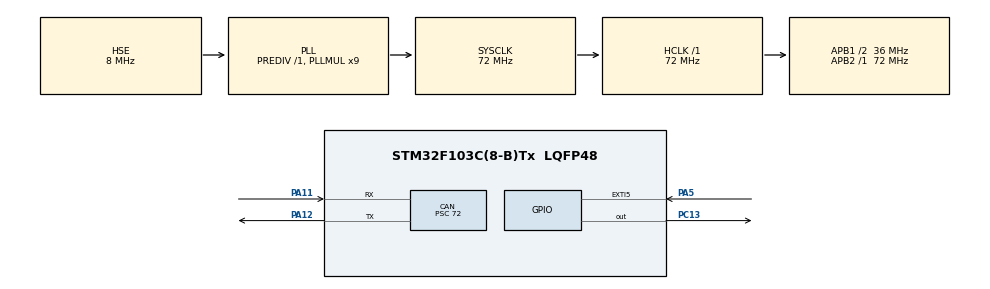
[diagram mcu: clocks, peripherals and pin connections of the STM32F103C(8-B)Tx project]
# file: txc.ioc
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CAN.BS1=CAN_BS1_2TQ
CAN.CalculateBaudRate=125000
CAN.CalculateTimeBit=8000
CAN.CalculateTimeQuantum=2000.0
CAN.Prescaler=72
Mcu.Family=STM32F1
Mcu.Name=STM32F103C(8-B)Tx
Mcu.Package=LQFP48
NVIC.EXTI9_5_IRQn=true\:0\:0\:false\:false\:true\:true\:true\:true
NVIC.PriorityGroup=NVIC_PRIORITYGROUP_4
NVIC.USB_LP_CAN1_RX0_IRQn=true\:0\:0\:false\:false\:true\:true\:true\:true
PA11.Mode=CAN_Activate
PA11.Signal=CAN_RX
PA12.Mode=CAN_Activate
PA12.Signal=CAN_TX
PA13.Mode=Serial_Wire
PA13.Signal=SYS_JTMS-SWDIO
PA14.Mode=Serial_Wire
PA14.Signal=SYS_JTCK-SWCLK
PA5.Signal=GPXTI5
PC13-TAMPER-RTC.Signal=GPIO_Output
PD0-OSC_IN.Mode=HSE-External-Oscillator
PD0-OSC_IN.Signal=RCC_OSC_IN
PD1-OSC_OUT.Mode=HSE-External-Oscillator
PD1-OSC_OUT.Signal=RCC_OSC_OUT
ProjectManager.HeapSize=0x200
ProjectManager.StackSize=0x400
ProjectManager.TargetToolchain=MDK-ARM V5.32
RCC.AHBFreq_Value=72000000
RCC.APB1CLKDivider=RCC_HCLK_DIV2
RCC.APB1Freq_Value=36000000
RCC.APB1TimFreq_Value=72000000
RCC.APB2Freq_Value=72000000
RCC.APB2TimFreq_Value=72000000
RCC.HCLKFreq_Value=72000000
RCC.PLLMUL=RCC_PLL_MUL9
RCC.PLLSourceVirtual=RCC_PLLSOURCE_HSE
RCC.SYSCLKFreq_VALUE=72000000
RCC.SYSCLKSource=RCC_SYSCLKSOURCE_PLLCLK
RCC.USBFreq_Value=72000000
board=custom

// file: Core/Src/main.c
/* USER CODE BEGIN Header */
/**
  ******************************************************************************
  * @file           : main.c
  * @brief          : Main program body
  ******************************************************************************
  * @attention
  *
  * Copyright (c) 2025 STMicroelectronics.
  * All rights reserved.
  *
  * This software is licensed under terms that can be found in the LICENSE file
  * in the root directory of this software component.
  * If no LICENSE file comes with this software, it is provided AS-IS.
  *
  ******************************************************************************
  */
/* USER CODE END Header */
#include "main.h"

CAN_HandleTypeDef hcan;

/* USER CODE BEGIN PV */
unsigned short analog_rx=0;
/* USER CODE END PV */

void SystemClock_Config(void);
static void MX_GPIO_Init(void);
static void MX_CAN_Init(void);

/* USER CODE BEGIN 0 */
CAN_TxHeaderTypeDef TxHeader;
CAN_RxHeaderTypeDef RxHeader;

uint8_t TxData[8];
uint8_t RxData[8];

uint32_t TxMailBox;

/* USER CODE END 0 */

int main(void)
{

  /* MCU Configuration--------------------------------------------------------*/

  /* Reset of all peripherals, Initializes the Flash interface and the Systick. */
  HAL_Init();

  /* Configure the system clock */
  SystemClock_Config();

  /* Initialize all configured peripherals */
  MX_GPIO_Init();
  MX_CAN_Init();
  /* USER CODE BEGIN 2 */

	HAL_CAN_Start(&hcan);
	TxHeader.DLC = 2;
	TxHeader.IDE = CAN_ID_STD;
	TxHeader.RTR = CAN_RTR_DATA;
	TxHeader.StdId = 0x446;

  /* USER CODE END 2 */

  /* Infinite loop */
  /* USER CODE BEGIN WHILE */
	RCC->APB2ENR|=(1<<0)|(1<<2)|(1<<9);
	GPIOA->CRL&=~(0xF<<0);
	GPIOA->CRL&=~(1<<0);

	ADC1->SQR3=0;
	ADC1->CR2|=(1<<20);
	ADC1->CR2|=(0b111<<17);

	ADC1->CR2|=(1<<1);  // Countinious

	ADC1->CR2|=(1<<8);  // DMA Mode enabled

	// DMA
	RCC->AHBENR|=RCC_AHBENR_DMA1EN;
	DMA1_Channel1->CMAR = (uint32_t)&analog_rx;
	DMA1_Channel1->CPAR = (uint32_t)&ADC1->DR;
	DMA1_Channel1->CNDTR = 2;
	DMA1_Channel1->CCR|=(1<<5)|(1<<0)|(1<<6)|(1<<7)|(1<<1);;

	// ADC ON
	ADC1->CR2|=(1<<0);
	for(volatile int i=0;i<1000;i++);
	ADC1->CR2|=(1<<0);

  while (1)
  {
		TxData[0] = analog_rx & 0xFF;
		TxData[1] = (analog_rx >> 8 ) & 0xFF;
		HAL_CAN_AddTxMessage(&hcan,&TxHeader,TxData,&TxMailBox);
		HAL_GPIO_TogglePin(GPIOC,GPIO_PIN_13);
		HAL_Delay(350);

    /* USER CODE END WHILE */

  }
}

void SystemClock_Config(void)
{
  RCC_OscInitTypeDef RCC_OscInitStruct = {0};
  RCC_ClkInitTypeDef RCC_ClkInitStruct = {0};

  /** Initializes the RCC Oscillators according to the specified parameters
  * in the RCC_OscInitTypeDef structure.
  */
  RCC_OscInitStruct.OscillatorType = RCC_OSCILLATORTYPE_HSE;
  RCC_OscInitStruct.HSEState = RCC_HSE_ON;
  RCC_OscInitStruct.HSEPredivValue = RCC_HSE_PREDIV_DIV1;
  RCC_OscInitStruct.HSIState = RCC_HSI_ON;
  RCC_OscInitStruct.PLL.PLLState = RCC_PLL_ON;
  RCC_OscInitStruct.PLL.PLLSource = RCC_PLLSOURCE_HSE;
  RCC_OscInitStruct.PLL.PLLMUL = RCC_PLL_MUL9;
  if (HAL_RCC_OscConfig(&RCC_OscInitStruct) != HAL_OK)
  {
    Error_Handler();
  }

  /** Initializes the CPU, AHB and APB buses clocks
  */
  RCC_ClkInitStruct.ClockType = RCC_CLOCKTYPE_HCLK|RCC_CLOCKTYPE_SYSCLK
                              |RCC_CLOCKTYPE_PCLK1|RCC_CLOCKTYPE_PCLK2;
  RCC_ClkInitStruct.SYSCLKSource = RCC_SYSCLKSOURCE_PLLCLK;
  RCC_ClkInitStruct.AHBCLKDivider = RCC_SYSCLK_DIV1;
  RCC_ClkInitStruct.APB1CLKDivider = RCC_HCLK_DIV2;
  RCC_ClkInitStruct.APB2CLKDivider = RCC_HCLK_DIV1;

  if (HAL_RCC_ClockConfig(&RCC_ClkInitStruct, FLASH_LATENCY_2) != HAL_OK)
  {
    Error_Handler();
  }
}

static void MX_CAN_Init(void)
{

  hcan.Instance = CAN1;
  hcan.Init.Prescaler = 72;
  hcan.Init.Mode = CAN_MODE_NORMAL;
  hcan.Init.SyncJumpWidth = CAN_SJW_1TQ;
  hcan.Init.TimeSeg1 = CAN_BS1_2TQ;
  hcan.Init.TimeSeg2 = CAN_BS2_1TQ;
  hcan.Init.TimeTriggeredMode = DISABLE;
  hcan.Init.AutoBusOff = DISABLE;
  hcan.Init.AutoWakeUp = DISABLE;
  hcan.Init.AutoRetransmission = DISABLE;
  hcan.Init.ReceiveFifoLocked = DISABLE;
  hcan.Init.TransmitFifoPriority = DISABLE;
  if (HAL_CAN_Init(&hcan) != HAL_OK)
  {
    Error_Handler();
  }
  /* USER CODE BEGIN CAN_Init 2 */

	CAN_FilterTypeDef canfilterconfig;

	canfilterconfig.FilterActivation = CAN_FILTER_ENABLE;
	canfilterconfig.FilterBank = 10;
  canfilterconfig.FilterFIFOAssignment = CAN_FILTER_FIFO0;
  canfilterconfig.FilterIdHigh = 0x103<<5;
  canfilterconfig.FilterIdLow = 0;
  canfilterconfig.FilterMaskIdHigh = 0x103<<5; // SET 0 to unfilter
  canfilterconfig.FilterMaskIdLow = 0x0000;
	canfilterconfig.FilterMode = CAN_FILTERMODE_IDMASK;
  canfilterconfig.FilterScale = CAN_FILTERSCALE_32BIT;
	canfilterconfig.SlaveStartFilterBank = 0;

  HAL_CAN_ConfigFilter(&hcan, &canfilterconfig);
  /* USER CODE END CAN_Init 2 */

}

static void MX_GPIO_Init(void)
{
  GPIO_InitTypeDef GPIO_InitStruct = {0};

  /* GPIO Ports Clock Enable */
  __HAL_RCC_GPIOC_CLK_ENABLE();
  __HAL_RCC_GPIOD_CLK_ENABLE();
  __HAL_RCC_GPIOA_CLK_ENABLE();

  /*Configure GPIO pin Output Level */
  HAL_GPIO_WritePin(GPIOC, GPIO_PIN_13, GPIO_PIN_RESET);

  /*Configure GPIO pin : PC13 */
  GPIO_InitStruct.Pin = GPIO_PIN_13;
  GPIO_InitStruct.Mode = GPIO_MODE_OUTPUT_PP;
  GPIO_InitStruct.Pull = GPIO_NOPULL;
  GPIO_InitStruct.Speed = GPIO_SPEED_FREQ_LOW;
  HAL_GPIO_Init(GPIOC, &GPIO_InitStruct);

  /*Configure GPIO pin : PA5 */
  GPIO_InitStruct.Pin = GPIO_PIN_5;
  GPIO_InitStruct.Mode = GPIO_MODE_IT_RISING;
  GPIO_InitStruct.Pull = GPIO_NOPULL;
  HAL_GPIO_Init(GPIOA, &GPIO_InitStruct);

  /* EXTI interrupt init*/
  HAL_NVIC_SetPriority(EXTI9_5_IRQn, 0, 0);
  HAL_NVIC_EnableIRQ(EXTI9_5_IRQn);

}

void Error_Handler(void)
{
  __disable_irq();
  while (1)
  {
  }
}
